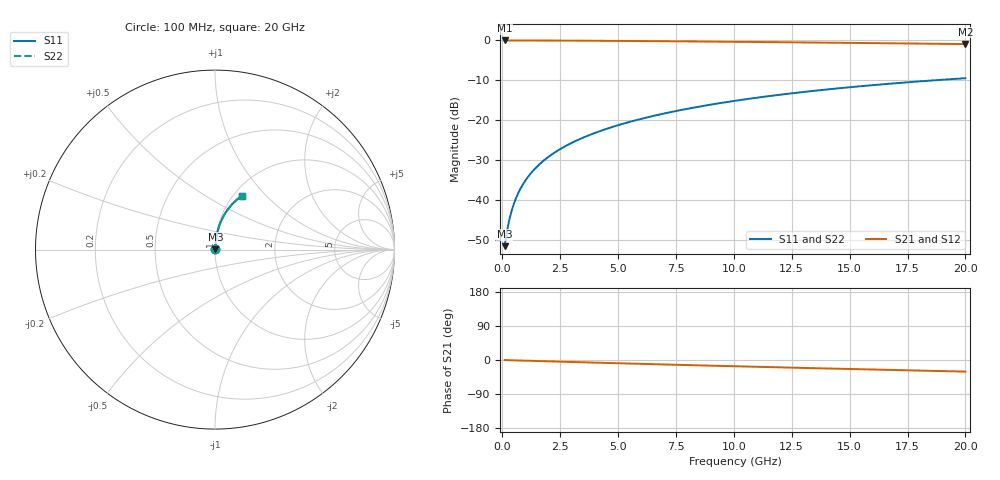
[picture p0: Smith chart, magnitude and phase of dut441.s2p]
! Touchstone file exported from HFSS 2024.1.0
!  File:  C:/UserFiles/LocalFiles/RDL_TSV_Batchsim/temp_RDL_bottom_441_1779684622.aedt
!  Generated:  12:52:55 PM May 25, 2026
!  Design:  RDL_bottom
!  Project:  temp_RDL_bottom_441_1779684622
!  Setup:  Setup1
!  Solution:  Sweep
! Variables:
!  dtsv = 10.80580581um
!  hbump = 3um
!  htsv = 84.63um
!  ldown = 397.57um
!  lrdl = 100um
!  p = 40
!  p1 = 49.24um
!  rhole = 1um
!  t = 450um
!  tdown = 4.94um
!  trdl = 3.915915916um
!  wdown = 15.64um
!  wrdl = 20um
# GHz S MA R 50.000000
! Terminal data exported
! Port[1] = RDL1_T1
! Port[2] = RDL1_T2
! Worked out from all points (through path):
!   200 points, 100 MHz to 20 GHz, reference 50 ohm
!   highest |S21| = -0.02 dB at 100 MHz (marker M1); lowest = -0.9 dB at 20 GHz (marker M2)
!   group delay of S21, straight-line fit = 4.23 ps
!   lowest |S11| = -51.5 dB at 100 MHz (marker M3), VSWR 1.01, Z = 50.2 + j0.183 ohm
!   |S11| at or under -10 dB: start of sweep to 18.64 GHz
!   |S22| runs from -51.5 to -9.5 dB; largest |S21 - S12| = 4e-15
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0.1  0.002657 43.3  0.9981 -0.2  0.9981 -0.2  0.002657 43.3
! Gamma 0 0 0 0
! Port Impedance 50 0 50 0
0.2  0.004039 61.7  0.998 -0.4  0.998 -0.4  0.004039 61.7
0.3  0.005638 70.0  0.9979 -0.5  0.9979 -0.5  0.005637 70.0
0.4  0.007311 74.5  0.9978 -0.7  0.9978 -0.7  0.00731 74.4
0.5  0.009015 77.2  0.9977 -0.9  0.9977 -0.9  0.009013 77.2
0.6  0.01073 79.0  0.9976 -1.1  0.9976 -1.1  0.01073 79.0
0.8  0.01419 81.2  0.9974 -1.4  0.9974 -1.4  0.01419 81.1
1.1  0.0194 82.8  0.997 -1.9  0.997 -1.9  0.0194 82.8
1.3  0.02287 83.3  0.9968 -2.3  0.9968 -2.3  0.02287 83.3
1.5  0.02633 83.7  0.9964 -2.6  0.9964 -2.6  0.02633 83.7
1.8  0.03152 84.0  0.9959 -3.2  0.9959 -3.2  0.03151 84.0
2.1  0.03669 84.1  0.9953 -3.7  0.9953 -3.7  0.03669 84.1
2.7  0.04702 84.1  0.9938 -4.7  0.9938 -4.7  0.04702 84.1
3.5  0.06081 83.8  0.9914 -6.1  0.9914 -6.1  0.06081 83.8
4.2  0.07291 83.3  0.9889 -7.3  0.9889 -7.3  0.07291 83.3
5  0.0868 82.7  0.9857 -8.6  0.9857 -8.6  0.0868 82.7
6.8  0.1183 80.9  0.9775 -11.5  0.9775 -11.5  0.1183 80.9
8.4  0.1464 79.1  0.9694 -14.0  0.9694 -14.0  0.1464 79.1
10.1  0.1762 76.9  0.9602 -16.6  0.9602 -16.6  0.1762 76.9
13.4  0.2327 72.5  0.9409 -21.5  0.9409 -21.5  0.2327 72.4
16.7  0.2864 67.9  0.9204 -26.1  0.9204 -26.1  0.2864 67.8
20  0.3363 63.3  0.8988 -30.6  0.8988 -30.6  0.3363 63.3
